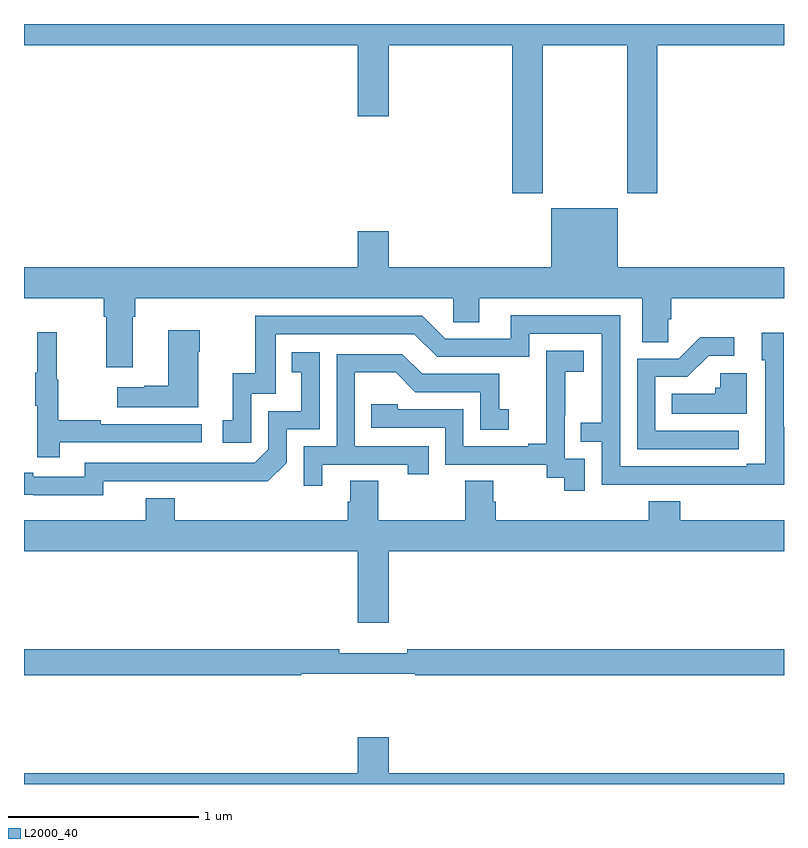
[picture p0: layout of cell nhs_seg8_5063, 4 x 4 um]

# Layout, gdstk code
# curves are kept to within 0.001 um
import gdstk
lib = gdstk.Library(unit=1e-6, precision=1e-09)
def P(c, l, *ps):  # polygons
    for p in ps: c.add(gdstk.Polygon(p, *l))
L2000_40 = (2000, 40)

nhs_seg8_5063 = lib.new_cell('nhs_seg8_5063')
P(nhs_seg8_5063, L2000_40, [(417.729,1161.788),(418.174,1161.788),(418.174,1161.009),(418.334,1161.009),(418.334,1161.788),(419,1161.788),(419,1161.9),(415,1161.9),(415,1161.788),(416.756,1161.788),(416.756,1161.414),(416.92,1161.414),(416.92,1161.788),(417.569,1161.788),(417.569,1161.009),(417.729,1161.009)],
  [(415.573,1160.36),(415.586,1160.36),(415.586,1160.456),(417.258,1160.456),(417.258,1160.329),(417.397,1160.329),(417.397,1160.456),(418.253,1160.456),(418.253,1160.224),(418.392,1160.224),(418.392,1160.347),(418.406,1160.347),(418.406,1160.456),(419,1160.456),(419,1160.62),(418.126,1160.62),(418.126,1160.929),(417.776,1160.929),(417.776,1160.62),(416.92,1160.62),(416.92,1160.809),(416.756,1160.809),(416.756,1160.62),(415,1160.62),(415,1160.456),(415.421,1160.456),(415.421,1160.36),(415.433,1160.36),(415.433,1160.094),(415.573,1160.094)],
  [(419,1159.781),(418.998,1159.781),(418.998,1160.275),(418.883,1160.275),(418.883,1160.13),(418.902,1160.13),(418.902,1159.585),(418.805,1159.585),(418.805,1159.572),(418.137,1159.572),(418.137,1160.367),(417.563,1160.367),(417.563,1160.244),(417.216,1160.244),(417.096,1160.364),(416.217,1160.364),(416.217,1160.062),(416.099,1160.062),(416.099,1159.815),(416.046,1159.815),(416.046,1159.695),(416.196,1159.695),(416.196,1159.953),(416.325,1159.953),(416.325,1160.268),(417.054,1160.268),(417.174,1160.148),(417.66,1160.148),(417.66,1160.271),(418.041,1160.271),(418.041,1159.802),(417.931,1159.802),(417.931,1159.701),(418.041,1159.701),(418.041,1159.476),(419,1159.475)],
  [(415.918,1160.174),(415.926,1160.174),(415.926,1160.287),(415.76,1160.287),(415.76,1159.997),(415.634,1159.997),(415.634,1159.987),(415.491,1159.987),(415.491,1159.883),(415.918,1159.883)],
  [(415.187,1159.698),(415.936,1159.698),(415.936,1159.794),(415.403,1159.794),(415.403,1159.814),(415.18,1159.814),(415.18,1160.028),(415.172,1160.028),(415.172,1160.278),(415.07,1160.278),(415.07,1160.065),(415.059,1160.065),(415.059,1159.891),(415.07,1159.891),(415.07,1159.62),(415.187,1159.62)],
  [(418.762,1159.758),(418.323,1159.758),(418.323,1160.043),(418.492,1160.043),(418.603,1160.154),(418.738,1160.154),(418.738,1160.252),(418.559,1160.252),(418.446,1160.139),(418.227,1160.139),(418.227,1159.662),(418.762,1159.662)],
  [(417.951,1159.611),(417.846,1159.611),(417.846,1159.841),(417.848,1159.841),(417.848,1160.069),(417.946,1160.069),(417.946,1160.179),(417.748,1160.179),(417.748,1159.973),(417.749,1159.973),(417.749,1159.69),(417.653,1159.69),(417.653,1159.677),(417.312,1159.677),(417.312,1159.872),(416.967,1159.872),(416.967,1159.899),(416.827,1159.899),(416.827,1159.776),(417.216,1159.776),(417.216,1159.581),(417.75,1159.581),(417.75,1159.513),(417.843,1159.513),(417.843,1159.443),(417.951,1159.443)],
  [(415.416,1159.494),(416.284,1159.493),(416.382,1159.59),(416.382,1159.767),(416.556,1159.767),(416.556,1160.173),(416.41,1160.173),(416.41,1160.067),(416.459,1160.067),(416.459,1159.863),(416.286,1159.863),(416.286,1159.662),(416.214,1159.59),(415.32,1159.59),(415.32,1159.518),(415.048,1159.518),(415.048,1159.538),(415,1159.538),(415,1159.422),(415.416,1159.421)],
  [(416.569,1159.581),(417.02,1159.581),(417.02,1159.53),(417.131,1159.53),(417.131,1159.677),(416.742,1159.677),(416.742,1160.066),(416.956,1160.066),(417.06,1159.962),(417.402,1159.962),(417.402,1159.764),(417.55,1159.764),(417.55,1159.873),(417.501,1159.873),(417.501,1160.058),(417.097,1160.058),(416.992,1160.163),(416.646,1160.163),(416.646,1159.677),(416.472,1159.677),(416.472,1159.47),(416.569,1159.47)],
  [(418.804,1160.062),(418.665,1160.062),(418.665,1159.986),(418.639,1159.986),(418.639,1159.954),(418.408,1159.954),(418.408,1159.85),(418.804,1159.85)],
  [(416.865,1159.496),(416.717,1159.496),(416.717,1159.386),(416.705,1159.386),(416.705,1159.288),(415.793,1159.288),(415.793,1159.405),(415.64,1159.405),(415.64,1159.288),(415,1159.288),(415,1159.124),(416.756,1159.124),(416.756,1158.75),(416.92,1158.75),(416.92,1159.124),(419,1159.124),(419,1159.288),(418.454,1159.288),(418.454,1159.387),(418.289,1159.387),(418.289,1159.288),(417.482,1159.288),(417.482,1159.386),(417.469,1159.386),(417.469,1159.496),(417.322,1159.496),(417.322,1159.288),(416.865,1159.288)],
  [(416.458,1158.48),(417.058,1158.48),(417.058,1158.472),(419,1158.472),(419,1158.608),(417.016,1158.608),(417.016,1158.589),(416.66,1158.589),(416.66,1158.608),(415,1158.608),(415,1158.472),(416.458,1158.472)],
  [(419,1157.956),(416.92,1157.956),(416.92,1158.145),(416.756,1158.145),(416.756,1157.956),(415,1157.956),(415,1157.9),(419,1157.9)])

lib.write_gds('nhs_seg8_5063.gds')
